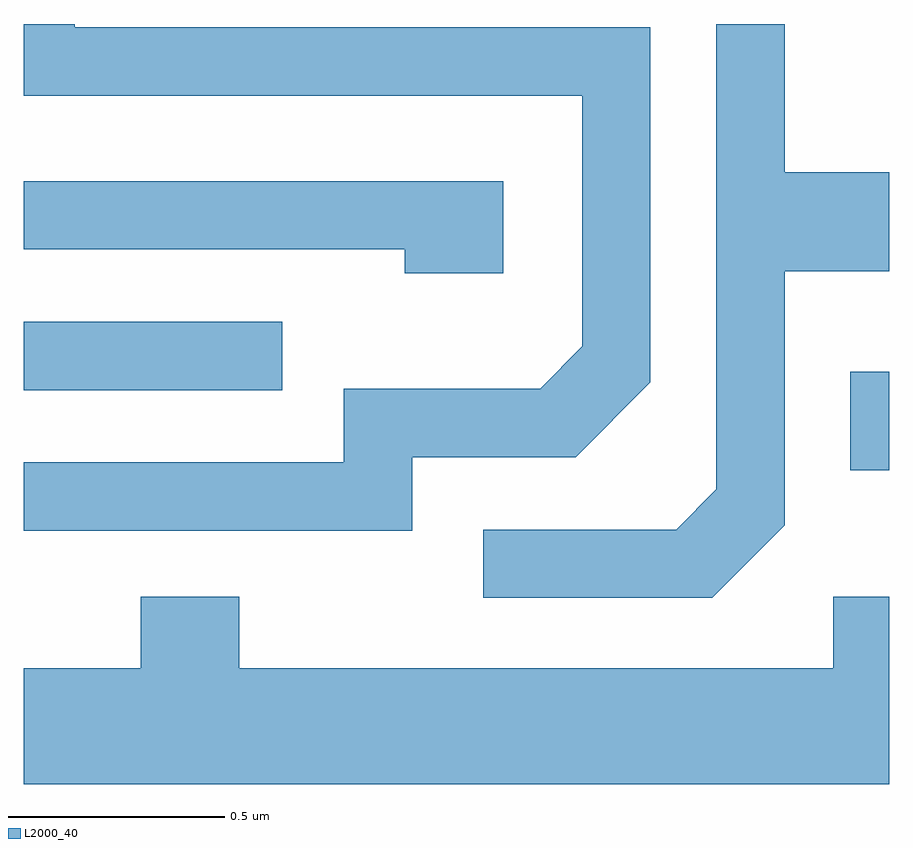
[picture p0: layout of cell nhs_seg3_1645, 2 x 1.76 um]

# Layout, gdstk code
import gdstk
lib = gdstk.Library(unit=1e-6, precision=1e-09)
def R(c, l, rs):  # rectangles x0, y0, x1, y1
    for r in rs: c.add(gdstk.rectangle(r[:2], r[2:], *l))
def P(c, l, *ps):  # polygons
    for p in ps: c.add(gdstk.Polygon(p, *l))
L2000_40 = (2000, 40)

nhs_seg3_1645 = lib.new_cell('nhs_seg3_1645')
R(nhs_seg3_1645, L2000_40, [(199.521,1117.861,199.611,1118.089), (197.611,1118.046,198.208,1118.204)])
P(nhs_seg3_1645, L2000_40, [(198.509,1117.891),(198.887,1117.891),(199.059,1118.064),(199.059,1118.884),(197.729,1118.884),(197.729,1118.892),(197.611,1118.892),(197.611,1118.726),(198.901,1118.726),(198.901,1118.147),(198.804,1118.049),(198.351,1118.049),(198.351,1117.879),(197.611,1117.879),(197.611,1117.721),(198.509,1117.721)],
  [(199.369,1117.734),(199.369,1118.321),(199.611,1118.321),(199.611,1118.549),(199.369,1118.549),(199.369,1118.892),(199.211,1118.892),(199.211,1117.817),(199.119,1117.724),(198.673,1117.724),(198.673,1117.566),(199.202,1117.566)],
  [(198.719,1118.529),(197.611,1118.529),(197.611,1118.371),(198.491,1118.371),(198.491,1118.316),(198.719,1118.316)],
  [(199.611,1117.569),(199.481,1117.569),(199.481,1117.404),(198.109,1117.404),(198.109,1117.569),(197.881,1117.569),(197.881,1117.404),(197.611,1117.404),(197.611,1117.136),(199.611,1117.136)])

lib.write_gds('nhs_seg3_1645.gds')
